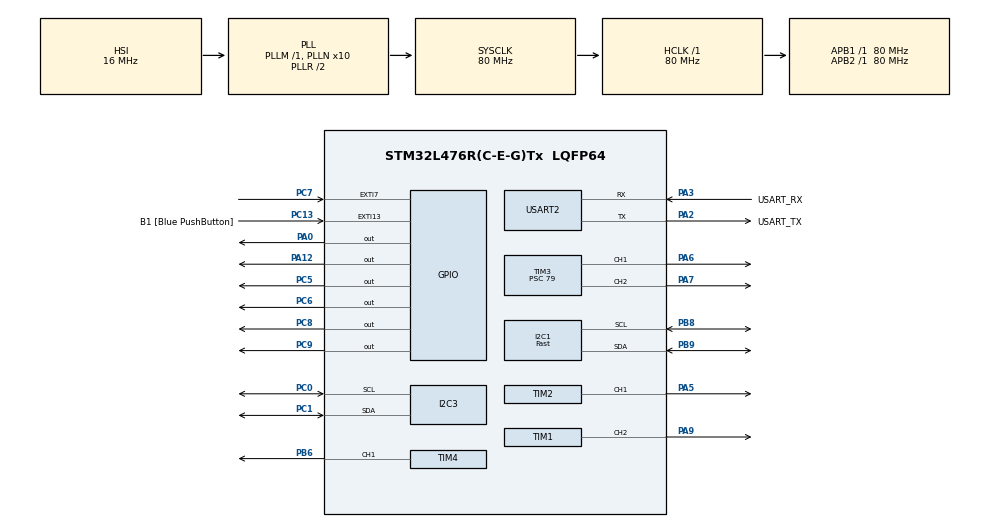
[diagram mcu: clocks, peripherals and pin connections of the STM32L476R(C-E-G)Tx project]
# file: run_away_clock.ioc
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FREERTOS.Tasks01=timeTask,27,128,TimeTask,Default,NULL,Dynamic,NULL,NULL;pidTask,24,128,PidTask,Default,NULL,Dynamic,NULL,NULL;lidarTask,26,128,LidarTask,Default,NULL,Dynamic,NULL,NULL
I2C1.I2C_Speed_Mode=I2C_Fast
I2C1.Timing=0x00F12981
I2C3.Timing=0x10D19CE4
Mcu.Family=STM32L4
Mcu.Name=STM32L476R(C-E-G)Tx
Mcu.Package=LQFP64
NVIC.EXTI9_5_IRQn=true\:5\:0\:false\:false\:true\:true\:true\:true\:true
NVIC.PriorityGroup=NVIC_PRIORITYGROUP_4
NVIC.USART2_IRQn=true\:5\:0\:false\:false\:true\:true\:true\:true\:true
PA0.Signal=GPIO_Output
PA12.Signal=GPIO_Output
PA13\ (JTMS-SWDIO).GPIO_Label=TMS
PA13\ (JTMS-SWDIO).Mode=Serial_Wire
PA13\ (JTMS-SWDIO).Signal=SYS_JTMS-SWDIO
PA14\ (JTCK-SWCLK).GPIO_Label=TCK
PA14\ (JTCK-SWCLK).Mode=Serial_Wire
PA14\ (JTCK-SWCLK).Signal=SYS_JTCK-SWCLK
PA2.GPIO_Label=USART_TX
PA2.GPIO_Mode=GPIO_MODE_AF_PP
PA2.GPIO_PuPd=GPIO_NOPULL
PA2.GPIO_Speed=GPIO_SPEED_FREQ_VERY_HIGH
PA2.Mode=Asynchronous
PA2.Signal=USART2_TX
PA3.GPIO_Label=USART_RX
PA3.GPIO_Mode=GPIO_MODE_AF_PP
PA3.GPIO_PuPd=GPIO_NOPULL
PA3.GPIO_Speed=GPIO_SPEED_FREQ_VERY_HIGH
PA3.Mode=Asynchronous
PA3.Signal=USART2_RX
PA5.Signal=S_TIM2_CH1
PA6.Signal=S_TIM3_CH1
PA7.Signal=S_TIM3_CH2
PA9.Signal=S_TIM1_CH2
PB3\ (JTDO-TRACESWO).GPIO_Label=SWO
PB3\ (JTDO-TRACESWO).Signal=SYS_JTDO-SWO
PB6.Signal=S_TIM4_CH1
PB8.GPIO_Pu=GPIO_PULLUP
PB8.Mode=I2C
PB8.Signal=I2C1_SCL
PB9.GPIO_Pu=GPIO_PULLUP
PB9.Mode=I2C
PB9.Signal=I2C1_SDA
PC0.GPIO_Pu=GPIO_PULLUP
PC0.Mode=I2C
PC0.Signal=I2C3_SCL
PC1.GPIO_Pu=GPIO_PULLUP
PC1.Mode=I2C
PC1.Signal=I2C3_SDA
PC13.GPIO_Label=B1 [Blue PushButton]
PC13.GPIO_ModeDefaultEXTI=GPIO_MODE_IT_FALLING
PC13.GPIO_PuPd=GPIO_NOPULL
PC13.Signal=GPXTI13
PC14-OSC32_IN\ (PC14).Mode=LSE-External-Oscillator
PC14-OSC32_IN\ (PC14).Signal=RCC_OSC32_IN
PC15-OSC32_OUT\ (PC15).Mode=LSE-External-Oscillator
PC15-OSC32_OUT\ (PC15).Signal=RCC_OSC32_OUT
PC5.Signal=GPIO_Output
PC6.Signal=GPIO_Output
PC7.GPIO_ModeDefaultEXTI=GPIO_MODE_IT_FALLING
PC7.GPIO_PuPd=GPIO_PULLUP
PC7.Signal=GPXTI7
PC8.Signal=GPIO_Output
PC9.Signal=GPIO_Output
PH0-OSC_IN\ (PH0).Signal=RCC_OSC_IN
PH1-OSC_OUT\ (PH1).Signal=RCC_OSC_OUT
ProjectManager.HeapSize=0x200
ProjectManager.StackSize=0x400
ProjectManager.TargetToolchain=STM32CubeIDE
RCC.ADCFreq_Value=64000000
RCC.AHBFreq_Value=80000000
RCC.APB1Freq_Value=80000000
RCC.APB1TimFreq_Value=80000000
RCC.APB2Freq_Value=80000000
RCC.APB2TimFreq_Value=80000000
RCC.CortexFreq_Value=80000000
RCC.HCLKFreq_Value=80000000
RCC.HSE_VALUE=8000000
RCC.HSI_VALUE=16000000
RCC.MSI_VALUE=4000000
RCC.PLLN=10
RCC.PLLSourceVirtual=RCC_PLLSOURCE_HSI
RCC.PREFETCH_ENABLE=1
RCC.SYSCLKFreq_VALUE=80000000
RCC.SYSCLKSource=RCC_SYSCLKSOURCE_PLLCLK
RCC.USBFreq_Value=64000000
RCC.VCOOutputFreq_Value=160000000
SH.S_TIM1_CH2.0=TIM1_CH2,PWM Generation2 CH2
SH.S_TIM2_CH1.0=TIM2_CH1,PWM Generation1 CH1
SH.S_TIM3_CH1.0=TIM3_CH1,PWM Generation1 CH1
SH.S_TIM3_CH2.0=TIM3_CH2,PWM Generation2 CH2
SH.S_TIM4_CH1.0=TIM4_CH1,PWM Generation1 CH1
TIM1.Channel-PWM\ Generation2\ CH2=TIM_CHANNEL_2
TIM1.Period=3999
TIM1.Prescaler=399
TIM2.AutoReloadPreload=TIM_AUTORELOAD_PRELOAD_ENABLE
TIM2.Channel-PWM\ Generation1\ CH1=TIM_CHANNEL_1
TIM2.Period=1000
TIM2.Prescaler=79
TIM3.Channel-PWM\ Generation1\ CH1=TIM_CHANNEL_1
TIM3.Channel-PWM\ Generation2\ CH2=TIM_CHANNEL_2
TIM3.Period=999
TIM3.Prescaler=79
TIM4.Channel-PWM\ Generation1\ CH1=TIM_CHANNEL_1
TIM4.Period=999
TIM4.Prescaler=79
TIM5.AutoReloadPreload=TIM_AUTORELOAD_PRELOAD_ENABLE
TIM5.Period=382
TIM5.Prescaler=79
USART2.VirtualMode-Asynchronous=VM_ASYNC
VP_FREERTOS_VS_CMSIS_V2.Mode=CMSIS_V2
VP_TIM1_VS_ClockSourceINT.Mode=Internal
VP_TIM2_VS_ClockSourceINT.Mode=Internal
VP_TIM3_VS_ClockSourceINT.Mode=Internal
VP_TIM4_VS_ClockSourceINT.Mode=Internal
VP_TIM5_VS_ClockSourceINT.Mode=Internal
board=NUCLEO-L476RG

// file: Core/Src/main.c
/* USER CODE BEGIN Header */
/**
  ******************************************************************************
  * @file           : main.c
  * @brief          : Main program body
  ******************************************************************************
  * @attention
  *
  * Copyright (c) 2024 STMicroelectronics.
  * All rights reserved.
  *
  * This software is licensed under terms that can be found in the LICENSE file
  * in the root directory of this software component.
  * If no LICENSE file comes with this software, it is provided AS-IS.
  *
  ******************************************************************************
  */
/* USER CODE END Header */
#include "main.h"
#include "cmsis_os.h"

/* USER CODE BEGIN Includes */
#include "servo.h"
#include "buzzer.h"
#include "MPU6050.h"
#include "ds3231.h"
#include "ssd1306.h"
#include "fonts.h"
#include <stdlib.h>
#include <math.h>
#include "interrupt.h"
#include "sensor_array.h"

#define TARGET_SPEED_RPM 150  // Target speed in RPM
#define COUNTS_PER_REV 20    // Encoder counts per revolution
#define PID_SAMPLE_TIME_MS 50
// Motor compensation adjustments
#define MOTOR1_COMPENSATION 1.0f    // Left motor baseline
#define MOTOR2_COMPENSATION 1.15f   // Slightly increased for right motor

#define KP 2.0f
#define KI 0.05f
#define KD 0.4f

// Anti-windup and smoothing
#define MAX_INTEGRAL 60.0f  // Increased to allow more correction
#define OUTPUT_RAMP_RATE 15.0f  // Increased for faster response
#define ALPHA 0.6f  // Reduced from 0.7 for less aggressive filtering

#define SAFETY_DISTANCE_CM 20        // Minimum safe distance
//#define TURN_SPEED 50               // Speed for turning
#define NORMAL_SPEED 70             // Normal forward speed
#define MOTOR_FORWARD_OFFSET 100
#define MOTOR_BACKWARD_OFFSET 15
#define MOTOR_SPEED_OFFSET 15

#define TURN_SPEED_MAX 100           // Maximum turning speed

#define TURN_ACTIVE_TIME  30    // Time to turn (ms)
#define TURN_PAUSE_TIME   400    // Time to pause (ms)

/* Private variables */
typedef struct {
    float target_rpm;
    float current_rpm;
    float error;
    float last_error;
    float integral;
    float derivative;
    float output;
    float filtered_output;
    float last_output;
    uint32_t last_time;
    uint32_t counts;
    uint32_t last_counts;
} PID_TypeDef;

PID_TypeDef pid_motor1;
PID_TypeDef pid_motor2;
uint8_t current_direction = 0;  // 0=stop, 1=forward, 2=backward, 3=left, 4=right

uint32_t sensor1_count = 0;
uint32_t sensor2_count = 0;
uint8_t last_state_pc2 = 0;
uint8_t last_state_pc3 = 0;
uint32_t last_print_time = 0;

// Define turn directions
#define LEFT  0
#define RIGHT 1
/* USER CODE END Includes */

/* USER CODE BEGIN PTD */
#define RX_BUFFER_SIZE 100
char timerBuffer[RX_BUFFER_SIZE];

int roll , pitch = 0;

int timer_type, time_recieved = 0;
uint8_t hour, min, month, day, year;
uint8_t alarmVar = 0;
uint8_t alarmHour, alarmMin = 0;

uint8_t UART1_rxBuffer[RX_BUFFER_SIZE];
uint8_t rxData[1];  // Buffer for single byte reception
uint16_t rxIndex = 0;
/* USER CODE END PTD */

/* USER CODE BEGIN PD */
uint32_t timerPreviousValue = 0;
uint32_t previousAlarmMin = 0;
uint32_t pidPreviousValue = 0;
const uint32_t INTERVAL = 1000;    // Print every 1 second
/* USER CODE END PD */

/* USER CODE BEGIN PM */
uint8_t stop_motors = 0;

/* Function Prototypes */
void check_sensors(void);
void PID_Init(PID_TypeDef *pid, float target_rpm);

/* USER CODE END PM */

I2C_HandleTypeDef hi2c1;
I2C_HandleTypeDef hi2c3;

TIM_HandleTypeDef htim1;
TIM_HandleTypeDef htim2;
TIM_HandleTypeDef htim3;
TIM_HandleTypeDef htim4;
TIM_HandleTypeDef htim5;

UART_HandleTypeDef huart2;

/* Definitions for timeTask */
osThreadId_t timeTaskHandle;
const osThreadAttr_t timeTask_attributes = {
  .name = "timeTask",
  .stack_size = 128 * 4,
  .priority = (osPriority_t) osPriorityNormal3,
};
/* Definitions for pidTask */
osThreadId_t pidTaskHandle;
const osThreadAttr_t pidTask_attributes = {
  .name = "pidTask",
  .stack_size = 128 * 4,
  .priority = (osPriority_t) osPriorityNormal,
};
/* Definitions for lidarTask */
osThreadId_t lidarTaskHandle;
const osThreadAttr_t lidarTask_attributes = {
  .name = "lidarTask",
  .stack_size = 128 * 4,
  .priority = (osPriority_t) osPriorityNormal2,
};

void SystemClock_Config(void);
static void MX_GPIO_Init(void);
static void MX_USART2_UART_Init(void);
static void MX_I2C3_Init(void);
static void MX_TIM1_Init(void);
static void MX_TIM2_Init(void);
static void MX_I2C1_Init(void);
static void MX_TIM3_Init(void);
static void MX_TIM4_Init(void);
static void MX_TIM5_Init(void);
void TimeTask(void *argument);
void PidTask(void *argument);
void LidarTask(void *argument);

/* USER CODE BEGIN 0 */
void HAL_UART_RxCpltCallback(UART_HandleTypeDef *huart)
{
    if(huart->Instance == USART2)
    {
        // Store received byte in buffer
		UART1_rxBuffer[rxIndex++] = rxData[0];
		// If buffer is full or we received a newline character
		if(rxIndex >= RX_BUFFER_SIZE || rxData[0] == '\n' || rxData[0] == '\r')
		{
			// Echo back the received data
			processTimeData(UART1_rxBuffer, &hour, &min, &day, &month, &year, &timer_type);
			HAL_UART_Transmit(&huart2, UART1_rxBuffer, rxIndex, 100);
			rxIndex = 0;  // Reset buffer
			time_recieved = 1;
		}
        // Restart reception for next byte
        HAL_UART_Receive_IT(&huart2, rxData, 1);
    }
}

void HAL_GPIO_EXTI_Callback(uint16_t GPIO_Pin)
{
    if(GPIO_Pin == GPIO_PIN_7) // Changed to PA9
     {
         alarmVar = 0;
         stop_motors = 0;
         HAL_GPIO_WritePin(GPIOA, GPIO_PIN_5, GPIO_PIN_RESET);
     }
}

uint8_t isValidObstacle(uint16_t distance) {
    // Valid obstacle detection range
    if(distance < SAFETY_DISTANCE_CM) {
        return 1;  // Obstacle detected
    }
    return 0;  // No obstacle
}

void set_motor_speed(uint8_t motor, int16_t speed)
{
    uint16_t pwm_value;

    // Limit speed to -199 to +199 for 5kHz PWM
    if(speed > 199) speed = 199;
    if(speed < -199) speed = -199;

    // Get absolute PWM value
    pwm_value = abs(speed);

    if(motor == 1)  // Left motor (PA5, PA6)
    {
        if(speed >= 0)
        {
            __HAL_TIM_SET_COMPARE(&htim2, TIM_CHANNEL_1, pwm_value);  // PA5
            __HAL_TIM_SET_COMPARE(&htim3, TIM_CHANNEL_1, 0);         // PA6
        }
        else
        {
            __HAL_TIM_SET_COMPARE(&htim2, TIM_CHANNEL_1, 0);
            __HAL_TIM_SET_COMPARE(&htim3, TIM_CHANNEL_1, pwm_value);
        }
    }
    else if(motor == 2)  // Right motor (PA7, PB6)
    {
        if(speed >= 0)
        {
            __HAL_TIM_SET_COMPARE(&htim3, TIM_CHANNEL_2, pwm_value);  // PA7
            __HAL_TIM_SET_COMPARE(&htim4, TIM_CHANNEL_1, 0);         // PB6
        }
        else
        {
            __HAL_TIM_SET_COMPARE(&htim3, TIM_CHANNEL_2, 0);
            __HAL_TIM_SET_COMPARE(&htim4, TIM_CHANNEL_1, pwm_value);
        }
    }
}

void motors_forward(uint8_t speed)
{
    // Convert speed percentage to target RPM
    float target_rpm = (float)speed * TARGET_SPEED_RPM / 100.0f;

    // Set same target RPM but compensation will be applied in PID calculation
    pid_motor1.target_rpm = target_rpm;
    pid_motor2.target_rpm = target_rpm;
    current_direction = 1;
}

void motors_backward(uint8_t speed)
{
    float target_rpm = (float)speed * TARGET_SPEED_RPM / 100.0f;

    // For backward motion, use negative RPM targets
    pid_motor1.target_rpm = -target_rpm;
    pid_motor2.target_rpm = -target_rpm;
    current_direction = 2;
}

void motors_left(uint8_t speed)
{
    float target_rpm = (float)speed * TARGET_SPEED_RPM / 100.0f;

    // For turning, motors run in opposite directions
    pid_motor1.target_rpm = target_rpm;
    pid_motor2.target_rpm = -target_rpm;
    current_direction = 3;
}

void motors_right(uint8_t speed)
{
    float target_rpm = (float)speed * TARGET_SPEED_RPM / 100.0f;

    pid_motor1.target_rpm = -target_rpm;
    pid_motor2.target_rpm = target_rpm;
    current_direction = 4;
}

void motors_stop(void)
{
    pid_motor1.target_rpm = 0;
    pid_motor2.target_rpm = 0;
    current_direction = 0;

    // Immediately stop motors
    set_motor_speed(1, 0);
    set_motor_speed(2, 0);

    // Reset PID controllers
    pid_motor1.integral = 0;
    pid_motor2.integral = 0;
}

/* Calculate RPM from sensor counts */
float Calculate_RPM(uint32_t counts, uint32_t last_counts, uint32_t time_diff_ms) {
    uint32_t count_diff = counts - last_counts;
    // Convert to RPM: (counts/ticks_per_rev) * (60000/time_diff_ms)
    return ((float)count_diff * 60000.0f) / (COUNTS_PER_REV * time_diff_ms);
}

float PID_Calculate(PID_TypeDef *pid, uint32_t current_counts, uint8_t motor_number) {
    uint32_t current_time = HAL_GetTick();
    uint32_t time_diff = current_time - pid->last_time;
    float new_output = pid->filtered_output;  // Initialize with current value

    if (time_diff >= PID_SAMPLE_TIME_MS) {
        // Calculate current speed from sensor counts
        pid->current_rpm = Calculate_RPM(current_counts, pid->last_counts, time_diff);

        // Apply motor compensation
        float compensation = (motor_number == 1) ? MOTOR1_COMPENSATION : MOTOR2_COMPENSATION;

        // Calculate error with compensation
        pid->error = (pid->target_rpm - pid->current_rpm) * compensation;

        // More aggressive integral for low speeds
        float ki_adaptive = (pid->current_rpm < pid->target_rpm/2) ? KI * 1.5f : KI;

        // Calculate integral with anti-windup
        if (fabsf(pid->output) < 100.0f) {
            pid->integral += pid->error * ((float)time_diff / 1000.0f);
            pid->integral = fminf(fmaxf(pid->integral, -MAX_INTEGRAL), MAX_INTEGRAL);
        }

        // Derivative with filtering
        pid->derivative = (pid->error - pid->last_error) / ((float)time_diff / 1000.0f);
        pid->derivative = (ALPHA * pid->derivative) + ((1.0f - ALPHA) * pid->derivative);

        // Calculate PID output
        new_output = (KP * pid->error) +
                    (ki_adaptive * pid->integral) +
                    (KD * pid->derivative);

        // Smoother output changes
        float output_delta = new_output - pid->last_output;
        if (fabsf(output_delta) > OUTPUT_RAMP_RATE) {
            new_output = pid->last_output + (output_delta > 0 ? OUTPUT_RAMP_RATE : -OUTPUT_RAMP_RATE);
        }

        // Store values for next iteration
        pid->last_error = pid->error;
        pid->last_output = new_output;
        pid->last_time = current_time;
        pid->last_counts = current_counts;
        pid->filtered_output = (ALPHA * new_output) + ((1.0f - ALPHA) * pid->filtered_output);

        // Debug output
        sprintf(uart_buf, "Motor%d RPM: %d.%d, Target: %d.%d, Out: %d.%d\r\n",
                motor_number,
                (int)pid->current_rpm, (int)(pid->current_rpm * 10) % 10,
                (int)pid->target_rpm, (int)(pid->target_rpm * 10) % 10,
                (int)new_output, (int)(new_output * 10) % 10);
        HAL_UART_Transmit(&huart2, (uint8_t *)uart_buf, strlen(uart_buf), 100);
    }

    return pid->filtered_output;
}

void update_motor_control(void)
{
    // Read speed sensors
    check_sensors();

    if(current_direction != 0) // If motors should be moving
    {
        // Calculate PID outputs
        float m1_output = PID_Calculate(&pid_motor1, sensor1_count, 1);
        float m2_output = PID_Calculate(&pid_motor2, sensor2_count, 2);

        // Convert PID output to PWM values
        int16_t pwm1, pwm2;

        // Handle direction
        if (current_direction == 1) { // Forward
            pwm1 = (int16_t)(m1_output * 1.99f);
            pwm2 = (int16_t)(m2_output * 1.99f);
        }
        else if (current_direction == 2) { // Backward
            pwm1 = -(int16_t)(m1_output * 1.99f);
            pwm2 = -(int16_t)(m2_output * 1.99f);
        }

        // Apply to motors
        set_motor_speed(1, pwm1);
        set_motor_speed(2, pwm2);

        // Debug
        sprintf(uart_buf, "PWM1: %d, PWM2: %d\r\n", pwm1, pwm2);
        HAL_UART_Transmit(&huart2, (uint8_t*)uart_buf, strlen(uart_buf), 100);
    }
}

void check_sensors(void) {
    // Read current states
    uint8_t current_state_pc2 = HAL_GPIO_ReadPin(GPIOC, GPIO_PIN_2);
    uint8_t current_state_pc3 = HAL_GPIO_ReadPin(GPIOC, GPIO_PIN_3);

    // Check for rising edge on PC2 (Motor 1 sensor)
    if(current_state_pc2 == 1 && last_state_pc2 == 0) {
        sensor1_count++;
    }

    // Check for rising edge on PC3 (Motor 2 sensor)
    if(current_state_pc3 == 1 && last_state_pc3 == 0) {
        sensor2_count++;
    }

    // Update last states
    last_state_pc2 = current_state_pc2;
    last_state_pc3 = current_state_pc3;
}

/* PID initialization */
void PID_Init(PID_TypeDef *pid, float target_rpm) {
    pid->target_rpm = target_rpm;
    pid->current_rpm = 0;
    pid->error = 0;
    pid->last_error = 0;
    pid->integral = 0;
    pid->derivative = 0;
    pid->output = 0;
    pid->filtered_output = 0;
    pid->last_output = 0;
    pid->last_time = HAL_GetTick();
    pid->counts = 0;
    pid->last_counts = 0;
}

// In your navigation function:
void turn_with_steps(uint8_t direction, uint32_t currentTime) {
    static uint32_t cycleStartTime = 0;
    static uint8_t isNewCycle = 1;

    // Start new turn cycle
    if(isNewCycle) {
        cycleStartTime = currentTime;
        isNewCycle = 0;
    }

    // Calculate time within the current cycle
    uint32_t timeInCycle = currentTime - cycleStartTime;

    // Total cycle time
    const uint32_t TOTAL_CYCLE_TIME = TURN_ACTIVE_TIME + TURN_PAUSE_TIME;

    // If we've completed a cycle, start a new one
    if(timeInCycle >= TOTAL_CYCLE_TIME) {
        cycleStartTime = currentTime;
        timeInCycle = 0;
    }

    // During active turn time
    if(timeInCycle < TURN_ACTIVE_TIME) {
        if(direction == RIGHT) {
            motors_right(TURN_SPEED_MAX);
        } else {
            motors_left(TURN_SPEED_MAX);
        }
    }
    // During pause time
    else {
        motors_stop();
    }

    // Debug output
    sprintf(uart_buf, "Turn Cycle: %lu ms, State: %s\r\n",
            timeInCycle,
            (timeInCycle < TURN_ACTIVE_TIME) ? "Turning" : "Stopped");
    HAL_UART_Transmit(&huart2, (uint8_t*)uart_buf, strlen(uart_buf), 100);
}

void navigateRobot(uint16_t *filteredDistances) {
    static uint32_t stateStartTime = 0;
    uint8_t leftObstacles = 0;
    uint8_t rightObstacles = 0;
    uint32_t currentTime = HAL_GetTick();

    // Count obstacles on left and right
    for(int i = 0; i < 2; i++) {
        if(isValidObstacle(filteredDistances[i])) {
            leftObstacles++;
        }
    }
    for(int i = 3; i < 5; i++) {
        if(isValidObstacle(filteredDistances[i])) {
            rightObstacles++;
        }
    }

    // If obstacles on left side, turn right gradually
    // Handle center sensor separately if needed
    if((isValidObstacle(filteredDistances[2]) && filteredDistances[2] < SAFETY_DISTANCE_CM/2)
    	|| (isValidObstacle(filteredDistances[0]) && filteredDistances[0] < SAFETY_DISTANCE_CM/2)
		|| (isValidObstacle(filteredDistances[4]) && filteredDistances[4] < SAFETY_DISTANCE_CM/2)) {
        // Consider center obstacle based on context
    	if(currentTime - stateStartTime > 300) {
    		motors_backward(NORMAL_SPEED);
    	 stateStartTime = currentTime;
        }

    }
    else if(leftObstacles > rightObstacles) {
    	if(isValidObstacle(filteredDistances[0]) || isValidObstacle(filteredDistances[1])|| isValidObstacle(filteredDistances[2])) {
    		 turn_with_steps(RIGHT, currentTime);
        }
//        sprintf(uart_buf, "Left obstacle detected, turning RIGHT\r\n");
    }
    // If obstacles on right side, turn left gradually
    else if(leftObstacles < rightObstacles) {
    	if(isValidObstacle(filteredDistances[2]) || isValidObstacle(filteredDistances[3]) || isValidObstacle(filteredDistances[4])) {
            // Implement stepped turning
    		 turn_with_steps(LEFT, currentTime);
        }
//        sprintf(uart_buf, "Right obstacle detected, turning LEFT\r\n");
    }

    else if(leftObstacles > 0 && leftObstacles == rightObstacles) {
    	// Implement stepped turning
//        sprintf(uart_buf, " BLOCKING detected, turning LEFT\r\n");
    	 turn_with_steps(LEFT, currentTime);
    }
    else if(leftObstacles > rightObstacles && leftObstacles > 1) {  // Need at least 2 sensors to trigger
        // Turn right
		if(isValidObstacle(filteredDistances[0]) || isValidObstacle(filteredDistances[1])|| isValidObstacle(filteredDistances[2])) {
			 turn_with_steps(RIGHT, currentTime);
		}
//		sprintf(uart_buf, "Left obstacle detected, turning RIGHT\r\n");
    }
    else if(rightObstacles > leftObstacles && rightObstacles > 1) {  // Need at least 2 sensors to trigger
        // Turn left
    	if(isValidObstacle(filteredDistances[2]) || isValidObstacle(filteredDistances[3]) || isValidObstacle(filteredDistances[4])) {
            // Implement stepped turning
    		 turn_with_steps(LEFT, currentTime);
        }
//        sprintf(uart_buf, "Right obstacle detected, turning LEFT\r\n");
    }

    // If path is clear, go forward and reset turn speed
    else {
        motors_forward(NORMAL_SPEED);
    }

//    HAL_UART_Transmit(&huart2, (uint8_t*)uart_buf, strlen(uart_buf), 100);

//    // Debug output
//    sprintf(uart_buf, "Distances: %d,%d,%d,%d,%d\r\n",
//            filteredDistances[0], filteredDistances[1],
//            filteredDistances[2], filteredDistances[3],
//            filteredDistances[4]);
//    HAL_UART_Transmit(&huart2, (uint8_t*)uart_buf, strlen(uart_buf), 100);
}

/* USER CODE END 0 */

int main(void)
{

  /* MCU Configuration--------------------------------------------------------*/

  /* Reset of all peripherals, Initializes the Flash interface and the Systick. */
  HAL_Init();

  /* Configure the system clock */
  SystemClock_Config();

  /* Initialize all configured peripherals */
  MX_GPIO_Init();
  MX_USART2_UART_Init();
  MX_I2C3_Init();
  MX_TIM1_Init();
  MX_TIM2_Init();
  MX_I2C1_Init();
  MX_TIM3_Init();
  MX_TIM4_Init();
  MX_TIM5_Init();
  /* USER CODE BEGIN 2 */

  Debug_Print("\r\n[DEBUG] System Initialized\r\n");
  HAL_UART_Receive_IT(&huart2, rxData, 1);

  /* USER CODE END 2 */

  /* Init scheduler */
  osKernelInitialize();

  /* Create the thread(s) */
  /* creation of timeTask */
  timeTaskHandle = osThreadNew(TimeTask, NULL, &timeTask_attributes);

  /* creation of pidTask */
  pidTaskHandle = osThreadNew(PidTask, NULL, &pidTask_attributes);

  /* creation of lidarTask */
  lidarTaskHandle = osThreadNew(LidarTask, NULL, &lidarTask_attributes);

  /* Start scheduler */
  osKernelStart();

  /* We should never get here as control is now taken by the scheduler */

  /* Infinite loop */
  while (1)
  {

  }
}

void SystemClock_Config(void)
{
  RCC_OscInitTypeDef RCC_OscInitStruct = {0};
  RCC_ClkInitTypeDef RCC_ClkInitStruct = {0};

  /** Configure the main internal regulator output voltage
  */
  if (HAL_PWREx_ControlVoltageScaling(PWR_REGULATOR_VOLTAGE_SCALE1) != HAL_OK)
  {
    Error_Handler();
  }

  /** Initializes the RCC Oscillators according to the specified parameters
  * in the RCC_OscInitTypeDef structure.
  */
  RCC_OscInitStruct.OscillatorType = RCC_OSCILLATORTYPE_HSI;
  RCC_OscInitStruct.HSIState = RCC_HSI_ON;
  RCC_OscInitStruct.HSICalibrationValue = RCC_HSICALIBRATION_DEFAULT;
  RCC_OscInitStruct.PLL.PLLState = RCC_PLL_ON;
  RCC_OscInitStruct.PLL.PLLSource = RCC_PLLSOURCE_HSI;
  RCC_OscInitStruct.PLL.PLLM = 1;
  RCC_OscInitStruct.PLL.PLLN = 10;
  RCC_OscInitStruct.PLL.PLLP = RCC_PLLP_DIV7;
  RCC_OscInitStruct.PLL.PLLQ = RCC_PLLQ_DIV2;
  RCC_OscInitStruct.PLL.PLLR = RCC_PLLR_DIV2;
  if (HAL_RCC_OscConfig(&RCC_OscInitStruct) != HAL_OK)
  {
    Error_Handler();
  }

  /** Initializes the CPU, AHB and APB buses clocks
  */
  RCC_ClkInitStruct.ClockType = RCC_CLOCKTYPE_HCLK|RCC_CLOCKTYPE_SYSCLK
                              |RCC_CLOCKTYPE_PCLK1|RCC_CLOCKTYPE_PCLK2;
  RCC_ClkInitStruct.SYSCLKSource = RCC_SYSCLKSOURCE_PLLCLK;
  RCC_ClkInitStruct.AHBCLKDivider = RCC_SYSCLK_DIV1;
  RCC_ClkInitStruct.APB1CLKDivider = RCC_HCLK_DIV1;
  RCC_ClkInitStruct.APB2CLKDivider = RCC_HCLK_DIV1;

  if (HAL_RCC_ClockConfig(&RCC_ClkInitStruct, FLASH_LATENCY_4) != HAL_OK)
  {
    Error_Handler();
  }
}

static void MX_I2C1_Init(void)
{

  hi2c1.Instance = I2C1;
  hi2c1.Init.Timing = 0x00F12981;
  hi2c1.Init.OwnAddress1 = 0;
  hi2c1.Init.AddressingMode = I2C_ADDRESSINGMODE_7BIT;
  hi2c1.Init.DualAddressMode = I2C_DUALADDRESS_DISABLE;
  hi2c1.Init.OwnAddress2 = 0;
  hi2c1.Init.OwnAddress2Masks = I2C_OA2_NOMASK;
  hi2c1.Init.GeneralCallMode = I2C_GENERALCALL_DISABLE;
  hi2c1.Init.NoStretchMode = I2C_NOSTRETCH_DISABLE;
  if (HAL_I2C_Init(&hi2c1) != HAL_OK)
  {
    Error_Handler();
  }

  /** Configure Analogue filter
  */
  if (HAL_I2CEx_ConfigAnalogFilter(&hi2c1, I2C_ANALOGFILTER_ENABLE) != HAL_OK)
  {
    Error_Handler();
  }

  /** Configure Digital filter
  */
  if (HAL_I2CEx_ConfigDigitalFilter(&hi2c1, 0) != HAL_OK)
  {
    Error_Handler();
  }

}

static void MX_I2C3_Init(void)
{

  hi2c3.Instance = I2C3;
  hi2c3.Init.Timing = 0x10D19CE4;
  hi2c3.Init.OwnAddress1 = 0;
  hi2c3.Init.AddressingMode = I2C_ADDRESSINGMODE_7BIT;
  hi2c3.Init.DualAddressMode = I2C_DUALADDRESS_DISABLE;
  hi2c3.Init.OwnAddress2 = 0;
  hi2c3.Init.OwnAddress2Masks = I2C_OA2_NOMASK;
  hi2c3.Init.GeneralCallMode = I2C_GENERALCALL_DISABLE;
  hi2c3.Init.NoStretchMode = I2C_NOSTRETCH_DISABLE;
  if (HAL_I2C_Init(&hi2c3) != HAL_OK)
  {
    Error_Handler();
  }

  /** Configure Analogue filter
  */
  if (HAL_I2CEx_ConfigAnalogFilter(&hi2c3, I2C_ANALOGFILTER_ENABLE) != HAL_OK)
  {
    Error_Handler();
  }

  /** Configure Digital filter
  */
  if (HAL_I2CEx_ConfigDigitalFilter(&hi2c3, 0) != HAL_OK)
  {
    Error_Handler();
  }

}

static void MX_TIM1_Init(void)
{

  TIM_ClockConfigTypeDef sClockSourceConfig = {0};
  TIM_MasterConfigTypeDef sMasterConfig = {0};
  TIM_OC_InitTypeDef sConfigOC = {0};
  TIM_BreakDeadTimeConfigTypeDef sBreakDeadTimeConfig = {0};

  htim1.Instance = TIM1;
  htim1.Init.Prescaler = 399;
  htim1.Init.CounterMode = TIM_COUNTERMODE_UP;
  htim1.Init.Period = 3999;
  htim1.Init.ClockDivision = TIM_CLOCKDIVISION_DIV1;
  htim1.Init.RepetitionCounter = 0;
  htim1.Init.AutoReloadPreload = TIM_AUTORELOAD_PRELOAD_DISABLE;
  if (HAL_TIM_Base_Init(&htim1) != HAL_OK)
  {
    Error_Handler();
  }
  sClockSourceConfig.ClockSource = TIM_CLOCKSOURCE_INTERNAL;
  if (HAL_TIM_ConfigClockSource(&htim1, &sClockSourceConfig) != HAL_OK)
  {
    Error_Handler();
  }
  if (HAL_TIM_PWM_Init(&htim1) != HAL_OK)
  {
    Error_Handler();
  }
  sMasterConfig.MasterOutputTrigger = TIM_TRGO_RESET;
  sMasterConfig.MasterOutputTrigger2 = TIM_TRGO2_RESET;
  sMasterConfig.MasterSlaveMode = TIM_MASTERSLAVEMODE_DISABLE;
  if (HAL_TIMEx_MasterConfigSynchronization(&htim1, &sMasterConfig) != HAL_OK)
  {
    Error_Handler();
  }
  sConfigOC.OCMode = TIM_OCMODE_PWM1;
  sConfigOC.Pulse = 0;
  sConfigOC.OCPolarity = TIM_OCPOLARITY_HIGH;
  sConfigOC.OCNPolarity = TIM_OCNPOLARITY_HIGH;
  sConfigOC.OCFastMode = TIM_OCFAST_DISABLE;
  sConfigOC.OCIdleState = TIM_OCIDLESTATE_RESET;
  sConfigOC.OCNIdleState = TIM_OCNIDLESTATE_RESET;
  if (HAL_TIM_PWM_ConfigChannel(&htim1, &sConfigOC, TIM_CHANNEL_2) != HAL_OK)
  {
    Error_Handler();
  }
  sBreakDeadTimeConfig.OffStateRunMode = TIM_OSSR_DISABLE;
  sBreakDeadTimeConfig.OffStateIDLEMode = TIM_OSSI_DISABLE;
  sBreakDeadTimeConfig.LockLevel = TIM_LOCKLEVEL_OFF;
  sBreakDeadTimeConfig.DeadTime = 0;
  sBreakDeadTimeConfig.BreakState = TIM_BREAK_DISABLE;
  sBreakDeadTimeConfig.BreakPolarity = TIM_BREAKPOLARITY_HIGH;
  sBreakDeadTimeConfig.BreakFilter = 0;
  sBreakDeadTimeConfig.Break2State = TIM_BREAK2_DISABLE;
  sBreakDeadTimeConfig.Break2Polarity = TIM_BREAK2POLARITY_HIGH;
  sBreakDeadTimeConfig.Break2Filter = 0;
  sBreakDeadTimeConfig.AutomaticOutput = TIM_AUTOMATICOUTPUT_DISABLE;
  if (HAL_TIMEx_ConfigBreakDeadTime(&htim1, &sBreakDeadTimeConfig) != HAL_OK)
  {
    Error_Handler();
  }
  HAL_TIM_MspPostInit(&htim1);

}

static void MX_TIM2_Init(void)
{

  TIM_ClockConfigTypeDef sClockSourceConfig = {0};
  TIM_MasterConfigTypeDef sMasterConfig = {0};
  TIM_OC_InitTypeDef sConfigOC = {0};

  htim2.Instance = TIM2;
  htim2.Init.Prescaler = 79;
  htim2.Init.CounterMode = TIM_COUNTERMODE_UP;
  htim2.Init.Period = 1000;
  htim2.Init.ClockDivision = TIM_CLOCKDIVISION_DIV1;
  htim2.Init.AutoReloadPreload = TIM_AUTORELOAD_PRELOAD_ENABLE;
  if (HAL_TIM_Base_Init(&htim2) != HAL_OK)
  {
    Error_Handler();
  }
  sClockSourceConfig.ClockSource = TIM_CLOCKSOURCE_INTERNAL;
  if (HAL_TIM_ConfigClockSource(&htim2, &sClockSourceConfig) != HAL_OK)
  {
    Error_Handler();
  }
  if (HAL_TIM_PWM_Init(&htim2) != HAL_OK)
  {
    Error_Handler();
  }
  sMasterConfig.MasterOutputTrigger = TIM_TRGO_RESET;
  sMasterConfig.MasterSlaveMode = TIM_MASTERSLAVEMODE_DISABLE;
  if (HAL_TIMEx_MasterConfigSynchronization(&htim2, &sMasterConfig) != HAL_OK)
  {
    Error_Handler();
  }
  sConfigOC.OCMode = TIM_OCMODE_PWM1;
  sConfigOC.Pulse = 0;
  sConfigOC.OCPolarity = TIM_OCPOLARITY_HIGH;
  sConfigOC.OCFastMode = TIM_OCFAST_DISABLE;
  if (HAL_TIM_PWM_ConfigChannel(&htim2, &sConfigOC, TIM_CHANNEL_1) != HAL_OK)
  {
    Error_Handler();
  }
  HAL_TIM_MspPostInit(&htim2);

}

static void MX_TIM3_Init(void)
{

  TIM_ClockConfigTypeDef sClockSourceConfig = {0};
  TIM_MasterConfigTypeDef sMasterConfig = {0};
  TIM_OC_InitTypeDef sConfigOC = {0};

  htim3.Instance = TIM3;
  htim3.Init.Prescaler = 79;
  htim3.Init.CounterMode = TIM_COUNTERMODE_UP;
  htim3.Init.Period = 999;
  htim3.Init.ClockDivision = TIM_CLOCKDIVISION_DIV1;
  htim3.Init.AutoReloadPreload = TIM_AUTORELOAD_PRELOAD_DISABLE;
  if (HAL_TIM_Base_Init(&htim3) != HAL_OK)
  {
    Error_Handler();
  }
  sClockSourceConfig.ClockSource = TIM_CLOCKSOURCE_INTERNAL;
  if (HAL_TIM_ConfigClockSource(&htim3, &sClockSourceConfig) != HAL_OK)
  {
    Error_Handler();
  }
  if (HAL_TIM_PWM_Init(&htim3) != HAL_OK)
  {
    Error_Handler();
  }
  sMasterConfig.MasterOutputTrigger = TIM_TRGO_RESET;
  sMasterConfig.MasterSlaveMode = TIM_MASTERSLAVEMODE_DISABLE;
  if (HAL_TIMEx_MasterConfigSynchronization(&htim3, &sMasterConfig) != HAL_OK)
  {
    Error_Handler();
  }
  sConfigOC.OCMode = TIM_OCMODE_PWM1;
  sConfigOC.Pulse = 0;
  sConfigOC.OCPolarity = TIM_OCPOLARITY_HIGH;
  sConfigOC.OCFastMode = TIM_OCFAST_DISABLE;
  if (HAL_TIM_PWM_ConfigChannel(&htim3, &sConfigOC, TIM_CHANNEL_1) != HAL_OK)
  {
    Error_Handler();
  }
  if (HAL_TIM_PWM_ConfigChannel(&htim3, &sConfigOC, TIM_CHANNEL_2) != HAL_OK)
  {
    Error_Handler();
  }
  HAL_TIM_MspPostInit(&htim3);

}

static void MX_TIM4_Init(void)
{

  TIM_ClockConfigTypeDef sClockSourceConfig = {0};
  TIM_MasterConfigTypeDef sMasterConfig = {0};
  TIM_OC_InitTypeDef sConfigOC = {0};

  htim4.Instance = TIM4;
  htim4.Init.Prescaler = 79;
  htim4.Init.CounterMode = TIM_COUNTERMODE_UP;
  htim4.Init.Period = 999;
  htim4.Init.ClockDivision = TIM_CLOCKDIVISION_DIV1;
  htim4.Init.AutoReloadPreload = TIM_AUTORELOAD_PRELOAD_DISABLE;
  if (HAL_TIM_Base_Init(&htim4) != HAL_OK)
  {
    Error_Handler();
  }
  sClockSourceConfig.ClockSource = TIM_CLOCKSOURCE_INTERNAL;
  if (HAL_TIM_ConfigClockSource(&htim4, &sClockSourceConfig) != HAL_OK)
  {
    Error_Handler();
  }
  if (HAL_TIM_PWM_Init(&htim4) != HAL_OK)
  {
    Error_Handler();
  }
  sMasterConfig.MasterOutputTrigger = TIM_TRGO_RESET;
  sMasterConfig.MasterSlaveMode = TIM_MASTERSLAVEMODE_DISABLE;
  if (HAL_TIMEx_MasterConfigSynchronization(&htim4, &sMasterConfig) != HAL_OK)
  {
    Error_Handler();
  }
  sConfigOC.OCMode = TIM_OCMODE_PWM1;
  sConfigOC.Pulse = 0;
  sConfigOC.OCPolarity = TIM_OCPOLARITY_HIGH;
  sConfigOC.OCFastMode = TIM_OCFAST_DISABLE;
  if (HAL_TIM_PWM_ConfigChannel(&htim4, &sConfigOC, TIM_CHANNEL_1) != HAL_OK)
  {
    Error_Handler();
  }
  HAL_TIM_MspPostInit(&htim4);

}

static void MX_TIM5_Init(void)
{

  TIM_ClockConfigTypeDef sClockSourceConfig = {0};
  TIM_MasterConfigTypeDef sMasterConfig = {0};

  htim5.Instance = TIM5;
  htim5.Init.Prescaler = 79;
  htim5.Init.CounterMode = TIM_COUNTERMODE_UP;
  htim5.Init.Period = 382;
  htim5.Init.ClockDivision = TIM_CLOCKDIVISION_DIV1;
  htim5.Init.AutoReloadPreload = TIM_AUTORELOAD_PRELOAD_ENABLE;
  if (HAL_TIM_Base_Init(&htim5) != HAL_OK)
  {
    Error_Handler();
  }
  sClockSourceConfig.ClockSource = TIM_CLOCKSOURCE_INTERNAL;
  if (HAL_TIM_ConfigClockSource(&htim5, &sClockSourceConfig) != HAL_OK)
  {
    Error_Handler();
  }
  sMasterConfig.MasterOutputTrigger = TIM_TRGO_RESET;
  sMasterConfig.MasterSlaveMode = TIM_MASTERSLAVEMODE_DISABLE;
  if (HAL_TIMEx_MasterConfigSynchronization(&htim5, &sMasterConfig) != HAL_OK)
  {
    Error_Handler();
  }

}

static void MX_USART2_UART_Init(void)
{

  huart2.Instance = USART2;
  huart2.Init.BaudRate = 115200;
  huart2.Init.WordLength = UART_WORDLENGTH_8B;
  huart2.Init.StopBits = UART_STOPBITS_1;
  huart2.Init.Parity = UART_PARITY_NONE;
  huart2.Init.Mode = UART_MODE_TX_RX;
  huart2.Init.HwFlowCtl = UART_HWCONTROL_NONE;
  huart2.Init.OverSampling = UART_OVERSAMPLING_16;
  huart2.Init.OneBitSampling = UART_ONE_BIT_SAMPLE_DISABLE;
  huart2.AdvancedInit.AdvFeatureInit = UART_ADVFEATURE_NO_INIT;
  if (HAL_UART_Init(&huart2) != HAL_OK)
  {
    Error_Handler();
  }

}

static void MX_GPIO_Init(void)
{
  GPIO_InitTypeDef GPIO_InitStruct = {0};

  /* GPIO Ports Clock Enable */
  __HAL_RCC_GPIOC_CLK_ENABLE();
  __HAL_RCC_GPIOH_CLK_ENABLE();
  __HAL_RCC_GPIOA_CLK_ENABLE();
  __HAL_RCC_GPIOB_CLK_ENABLE();

  /*Configure GPIO pin Output Level */
  HAL_GPIO_WritePin(GPIOA, GPIO_PIN_0|GPIO_PIN_12, GPIO_PIN_RESET);

  /*Configure GPIO pin Output Level */
  HAL_GPIO_WritePin(GPIOC, GPIO_PIN_5|GPIO_PIN_6|GPIO_PIN_8|GPIO_PIN_9, GPIO_PIN_RESET);

  /*Configure GPIO pin : B1_Pin */
  GPIO_InitStruct.Pin = B1_Pin;
  GPIO_InitStruct.Mode = GPIO_MODE_IT_FALLING;
  GPIO_InitStruct.Pull = GPIO_NOPULL;
  HAL_GPIO_Init(B1_GPIO_Port, &GPIO_InitStruct);

  /*Configure GPIO pins : PA0 PA12 */
  GPIO_InitStruct.Pin = GPIO_PIN_0|GPIO_PIN_12;
  GPIO_InitStruct.Mode = GPIO_MODE_OUTPUT_PP;
  GPIO_InitStruct.Pull = GPIO_NOPULL;
  GPIO_InitStruct.Speed = GPIO_SPEED_FREQ_LOW;
  HAL_GPIO_Init(GPIOA, &GPIO_InitStruct);

  /*Configure GPIO pins : PC5 PC6 PC8 PC9 */
  GPIO_InitStruct.Pin = GPIO_PIN_5|GPIO_PIN_6|GPIO_PIN_8|GPIO_PIN_9;
  GPIO_InitStruct.Mode = GPIO_MODE_OUTPUT_PP;
  GPIO_InitStruct.Pull = GPIO_NOPULL;
  GPIO_InitStruct.Speed = GPIO_SPEED_FREQ_LOW;
  HAL_GPIO_Init(GPIOC, &GPIO_InitStruct);

  /*Configure GPIO pin : PC7 */
  GPIO_InitStruct.Pin = GPIO_PIN_7;
  GPIO_InitStruct.Mode = GPIO_MODE_IT_FALLING;
  GPIO_InitStruct.Pull = GPIO_PULLUP;
  HAL_GPIO_Init(GPIOC, &GPIO_InitStruct);

  /* EXTI interrupt init*/
  HAL_NVIC_SetPriority(EXTI9_5_IRQn, 5, 0);
  HAL_NVIC_EnableIRQ(EXTI9_5_IRQn);

}

void TimeTask(void *argument)
{
  /* USER CODE BEGIN 5 */
	static uint32_t led_last_time = 0;
	static uint8_t led_state = 0;  // 0 = OFF cycle, 1 = ON cycle
	MPU6050_init();
	ssd1306_Init(&hi2c3);
	buzzer_init();
	start_mario_melody();  // Start with main theme

	Set_init_time( __DATE__, __TIME__);

	servo_init(&htim1, TIM_CHANNEL_2);
	setServoAngle(&htim1, TIM_CHANNEL_2, 0);
	HAL_Delay(1000);
  /* Infinite loop */
  for(;;)
  {
	uint32_t current_time = HAL_GetTick();
    if(time_recieved == 1){
    	if(timer_type == 0){
    		Set_Time(0, min, hour, 1, day, month, year);
    	}
    	if(timer_type == 1){
    		alarmHour = hour;
    		alarmMin = min;
    		snprintf(timerBuffer, sizeof(timerBuffer), "A:%02d:%02d", alarmHour, alarmMin);
    		ssd1306_SetCursor(0, 40); // column, row
    		ssd1306_WriteString(timerBuffer, Font_11x18, White);
    	}
      time_recieved = 0;
    }

	Get_Time();
	get_roll_pitch(&roll, &pitch);

	snprintf(timerBuffer, sizeof(timerBuffer), "T:%02d:%02d:%02d", time.hour, time.minutes, time.seconds);
	ssd1306_SetCursor(0, 0); // column, row
	ssd1306_WriteString(timerBuffer, Font_11x18, White);

	sprintf(timerBuffer, "D:%02d/%02d/%02d",time.dayofmonth, time.month, time.year);
	ssd1306_SetCursor(0, 20); // column, row
	ssd1306_WriteString(timerBuffer, Font_11x18, White);
	ssd1306_UpdateScreen(&hi2c3); // Copy all data from local screen buffer to the screen

//		snprintf(timerBuffer, sizeof(timerBuffer), "time: %02d:%02d:%02d\r\n", time.hour, time.minutes, time.seconds);
//		HAL_UART_Transmit(&huart2, (uint8_t *)timerBuffer, strlen(timerBuffer), HAL_MAX_DELAY);
//
//		snprintf(timerBuffer, sizeof(timerBuffer), "Roll: %d, Pitch: %d\r\n", roll, pitch);
//		HAL_UART_Transmit(&huart2, (uint8_t *)timerBuffer, strlen(timerBuffer), HAL_MAX_DELAY);

	if(alarmHour == time.hour && alarmMin == time.minutes && (previousAlarmMin != time.minutes)){
		previousAlarmMin = time.minutes;
		alarmVar = 1;
	}
	else if(previousAlarmMin != time.minutes){
		previousAlarmMin = 0;
	}

	if(alarmVar == 1){
		stop_motors = 1;
		if(led_state == 0)  // During OFF cycle
		    {
		        if(current_time - led_last_time >= 1000)  // Check if 1 second passed
		        {
		            HAL_GPIO_WritePin(GPIOA, GPIO_PIN_0, GPIO_PIN_SET);  // Turn ON
		            led_last_time = current_time;
		            led_state = 1;  // Switch to ON cycle
		        }
		    }
		 else  // During ON cycle
		    {
		        if(current_time - led_last_time >= 1000)  // Check if 1 second passed
		        {
		            HAL_GPIO_WritePin(GPIOA, GPIO_PIN_0, GPIO_PIN_RESET);  // Turn OFF
		            led_last_time = current_time;
		            led_state = 0;  // Switch to OFF cycle
		        }
		    }

	}

	if(roll>90 || roll<-90 || pitch>90 || pitch<-90 ){
		setServoAngle(&htim1, TIM_CHANNEL_2, 180);
	}
	else {
		setServoAngle(&htim1, TIM_CHANNEL_2, 0);
	}
	osDelay(1);
  }
  /* USER CODE END 5 */
}

void PidTask(void *argument)
{
  /* USER CODE BEGIN PidTask */
  /* Infinite loop */
  HAL_TIM_PWM_Start(&htim2, TIM_CHANNEL_1);
  HAL_TIM_PWM_Start(&htim3, TIM_CHANNEL_1);
  HAL_TIM_PWM_Start(&htim3, TIM_CHANNEL_2);
  HAL_TIM_PWM_Start(&htim4, TIM_CHANNEL_1);

  PID_Init(&pid_motor1, TARGET_SPEED_RPM);
  PID_Init(&pid_motor2, TARGET_SPEED_RPM);

  for(;;)
  {
	if(stop_motors !=0 ){
		navigateRobot(filteredDistances);
		// Small delay to prevent overwhelming the system
	}
	else{
		motors_stop();
	}
	 // Update PID control
	update_motor_control();

	// Debug output
//	static uint32_t last_debug = 0;
//	if (HAL_GetTick() - last_debug >= 1000) {
//	  sprintf(uart_buf, "Dir: %d, M1 RPM: %d, M2 RPM: %d\r\n",
//			  current_direction,
//			  (int)pid_motor1.current_rpm,
//			  (int)pid_motor2.current_rpm);
//	  HAL_UART_Transmit(&huart2, (uint8_t*)uart_buf, strlen(uart_buf), 100);
//	  last_debug = HAL_GetTick();
//	}

	osDelay(1);
  }
  /* USER CODE END PidTask */
}

void LidarTask(void *argument)
{
  /* USER CODE BEGIN LidarTask */
  /* Infinite loop */
	sprintf(uart_buf, "Starting VL53L0X multiple sensor initialization...\r\n");
	HAL_UART_Transmit(&huart2, (uint8_t*)uart_buf, strlen(uart_buf), HAL_MAX_DELAY);

	// Initially set all XSHUT pins low
	HAL_GPIO_WritePin(SENSOR_GPIO_PORT_C, SENSOR1_XSHUT_PIN, GPIO_PIN_RESET);
	HAL_GPIO_WritePin(SENSOR_GPIO_PORT_A, SENSOR2_XSHUT_PIN, GPIO_PIN_RESET);
	HAL_GPIO_WritePin(SENSOR_GPIO_PORT_C, SENSOR3_XSHUT_PIN, GPIO_PIN_RESET);
	HAL_GPIO_WritePin(SENSOR_GPIO_PORT_C, SENSOR4_XSHUT_PIN, GPIO_PIN_RESET);
	HAL_GPIO_WritePin(SENSOR_GPIO_PORT_C, SENSOR5_XSHUT_PIN, GPIO_PIN_RESET);
	HAL_Delay(10);

	// Initialize sensors one by one, keeping previous ones enabled
	CheckAndInitSensor(0x29, 0x30, SENSOR_GPIO_PORT_C, SENSOR1_XSHUT_PIN, 1);
	// First sensor stays enabled, initialize second
	CheckAndInitSensor(0x29, 0x31, SENSOR_GPIO_PORT_A, SENSOR2_XSHUT_PIN, 2);
	// First two sensors stay enabled, initialize third
	CheckAndInitSensor(0x29, 0x32, SENSOR_GPIO_PORT_C, SENSOR3_XSHUT_PIN, 3);
	CheckAndInitSensor(0x29, 0x33, SENSOR_GPIO_PORT_C, SENSOR4_XSHUT_PIN, 4);
	CheckAndInitSensor(0x29, 0x34, SENSOR_GPIO_PORT_C, SENSOR5_XSHUT_PIN, 5);

	//    VL53L0X_SetOffset(0x30, -20);
	// Set +15mm offset for sensor 2
	VL53L0X_SetOffset(0x31, 0.3);
	//    VL53L0X_SetOffset(0x32, 15);
	VL53L0X_SetOffset(0x33, 0.3);
	VL53L0X_SetOffset(0x34, -1);

	uint8_t status;
	uint16_t distance1, distance2, distance3, distance4, distance5;

	while(1)
	{
		uint32_t sum1 = 0, sum2 = 0, sum3 = 0, sum4 = 0, sum5 = 0;
		uint16_t filtered_dist1, filtered_dist2, filtered_dist3, filtered_dist4, filtered_dist5;

		// Read and store in circular buffer
		status = VL53L0X_ReadRangeContinuous(0x30, &distance1);
		HAL_Delay(1);
		if(status != 0) {
		  distance1 = 1000;  // Invalid reading due to error
		}
		else if(distance1 > 1000) {
		  distance1 = 1000;  // Limit maximum distance to 500
		}
		buffer1[buffer_index] = distance1;

		status = VL53L0X_ReadRangeContinuous(0x31, &distance2);
		HAL_Delay(1);
		if(status != 0) {
		  distance2 = 1000;  // Invalid reading due to error
		}
		else if(distance2 > 1000) {
		  distance2 = 1000;  // Limit maximum distance to 500
		}
		buffer2[buffer_index] = distance2;

		status = VL53L0X_ReadRangeContinuous(0x32, &distance3);
		HAL_Delay(1);
		if(status != 0) {
		  distance3 = 1000;  // Invalid reading due to error
		}
		else if(distance3 > 1000) {
		  distance3 = 1000;  // Limit maximum distance to 500
		}
		buffer3[buffer_index] = distance3;

		status = VL53L0X_ReadRangeContinuous(0x33, &distance4);
		HAL_Delay(1);
		if(status != 0) {
		  distance4 = 1000;  // Invalid reading due to error
		}
		else if(distance4 > 1000) {
		  distance4 = 1000;  // Limit maximum distance to 500
		}
		buffer4[buffer_index] = distance4;

		status = VL53L0X_ReadRangeContinuous(0x34, &distance5);
		HAL_Delay(1);
		if(status != 0) {
		  distance5 = 1000;  // Invalid reading due to error
		}
		else if(distance5 > 1000) {
		  distance5 = 1000;  // Limit maximum distance to 500
		}
		buffer5[buffer_index] = distance5;

		// Calculate averages
		for(int i = 0; i < FILTER_SIZE; i++) {
			sum1 += buffer1[i];
			sum2 += buffer2[i];
			sum3 += buffer3[i];
			sum4 += buffer4[i];
			sum5 += buffer5[i];
		}

		filtered_dist1 = sum1 / FILTER_SIZE;
		filtered_dist2 = sum2 / FILTER_SIZE;
		filtered_dist3 = sum3 / FILTER_SIZE;
		filtered_dist4 = sum4 / FILTER_SIZE;
		filtered_dist5 = sum5 / FILTER_SIZE;

		// Update buffer index
		buffer_index = (buffer_index + 1) % FILTER_SIZE;

		//	//	      	     Output filtered distances in cm
		//	sprintf(uart_buf, "%d ---- %d ---- %d ---- %d ---- %d\r\n",
		//			filtered_dist1/10, filtered_dist2/10, filtered_dist3/10, filtered_dist4/10, filtered_dist5/10);
		//	HAL_UART_Transmit(&huart2, (uint8_t*)uart_buf, strlen(uart_buf), HAL_MAX_DELAY);

		filteredDistances[0] = filtered_dist1/10;
		filteredDistances[1] = filtered_dist2/10;
		filteredDistances[2] = filtered_dist3/10;
		filteredDistances[3] = filtered_dist4/10;
		filteredDistances[4] = filtered_dist5/10;
		osDelay(1);
	}
  /* USER CODE END LidarTask */
}

void Error_Handler(void)
{
  __disable_irq();
  while (1)
  {
  }
}
